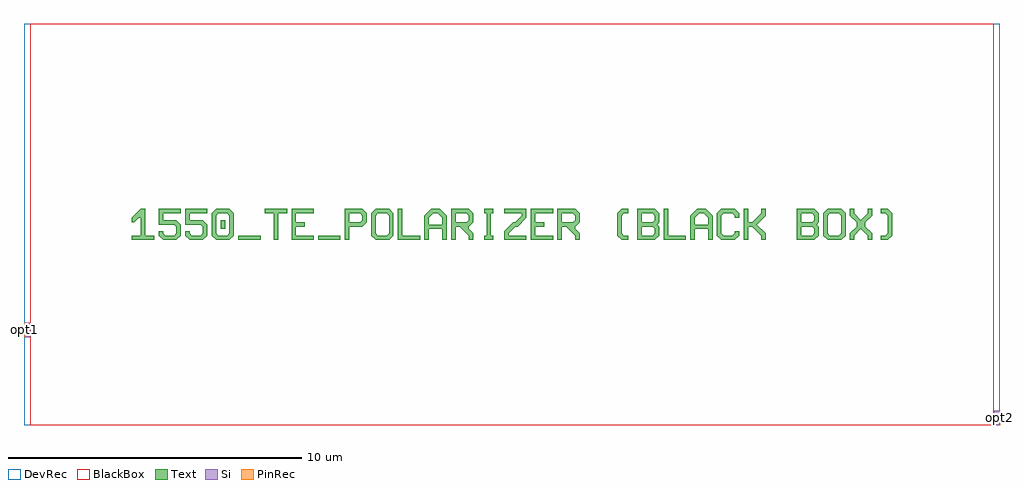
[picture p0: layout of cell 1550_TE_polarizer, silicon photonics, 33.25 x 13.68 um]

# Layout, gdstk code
import gdstk
lib = gdstk.Library(unit=1e-6, precision=1e-09)
def R(c, l, rs):  # rectangles x0, y0, x1, y1
    for r in rs: c.add(gdstk.rectangle(r[:2], r[2:], *l))
def P(c, l, *ps):  # polygons
    for p in ps: c.add(gdstk.Polygon(p, *l))
Si = (1, 0)
PinRec = (1, 10)
Text = (10, 0)
DevRec = (68, 0)
BlackBox = (998, 0)

text = lib.new_cell('TEXT')
R(text, Text, [(3.624,0,4.379,0.151), (6.342,0,7.097,0.151), (3.02,0.377,3.171,0.679)])
P(text, Text, [(0,0),(0,0.151),(0.302,0.151),(0.302,0.755),(0.226,0.755),(0.075,0.604),(0,0.604),(0,0.755),(0.302,1.057),(0.453,1.057),(0.453,0.151),(0.755,0.151),(0.755,0)],
  [(1.057,0),(0.906,0.151),(0.906,0.302),(1.057,0.302),(1.057,0.226),(1.132,0.151),(1.434,0.151),(1.51,0.226),(1.51,0.453),(1.434,0.528),(0.906,0.528),(0.906,1.057),(1.661,1.057),(1.661,0.906),(1.057,0.906),(1.057,0.679),(1.51,0.679),(1.661,0.528),(1.661,0.151),(1.51,0)],
  [(1.963,0),(1.812,0.151),(1.812,0.302),(1.963,0.302),(1.963,0.226),(2.038,0.151),(2.34,0.151),(2.416,0.226),(2.416,0.453),(2.34,0.528),(1.812,0.528),(1.812,1.057),(2.567,1.057),(2.567,0.906),(1.963,0.906),(1.963,0.679),(2.416,0.679),(2.567,0.528),(2.567,0.151),(2.416,0)],
  [(2.869,0),(2.718,0.151),(2.718,0.906),(2.869,1.057),(3.322,1.057),(3.473,0.906),(2.944,0.906),(2.869,0.83),(2.869,0.226),(2.944,0.151),(3.246,0.151),(3.322,0.226),(3.322,0.83),(3.246,0.906),(3.473,0.906),(3.473,0.151),(3.322,0)],
  [(4.832,0),(4.832,0.906),(4.53,0.906),(4.53,1.057),(5.285,1.057),(5.285,0.906),(4.983,0.906),(4.983,0)],
  [(5.436,0),(5.436,1.057),(6.191,1.057),(6.191,0.906),(5.587,0.906),(5.587,0.604),(5.889,0.604),(5.889,0.453),(5.587,0.453),(5.587,0.151),(6.191,0.151),(6.191,0)],
  [(7.248,0),(7.248,1.057),(7.852,1.057),(8.003,0.906),(8.003,0.604),(7.852,0.453),(7.399,0.453),(7.399,0.604),(7.776,0.604),(7.852,0.679),(7.852,0.83),(7.776,0.906),(7.399,0.906),(7.399,0)],
  [(8.305,0),(8.154,0.151),(8.154,0.906),(8.305,1.057),(8.758,1.057),(8.909,0.906),(8.909,0.528),(8.758,0.528),(8.758,0.83),(8.682,0.906),(8.38,0.906),(8.305,0.83),(8.305,0.226),(8.38,0.151),(8.682,0.151),(8.758,0.226),(8.758,0.528),(8.909,0.528),(8.909,0.151),(8.758,0)],
  [(9.06,0),(9.06,1.057),(9.211,1.057),(9.211,0.151),(9.815,0.151),(9.815,0)],
  [(9.966,0),(9.966,0.83),(10.192,1.057),(10.494,1.057),(10.645,0.906),(10.268,0.906),(10.117,0.755),(10.117,0.528),(10.57,0.528),(10.57,0.755),(10.419,0.906),(10.645,0.906),(10.721,0.83),(10.721,0),(10.57,0),(10.57,0.377),(10.117,0.377),(10.117,0)],
  [(10.872,0),(10.872,1.057),(11.476,1.057),(11.627,0.906),(11.023,0.906),(11.023,0.604),(11.4,0.604),(11.476,0.679),(11.476,0.83),(11.4,0.906),(11.627,0.906),(11.627,0.604),(11.476,0.453),(11.476,0.377),(11.627,0.226),(11.627,0),(11.476,0),(11.476,0.151),(11.174,0.453),(11.023,0.453),(11.023,0)],
  [(12.004,0),(12.004,0.151),(12.08,0.151),(12.08,0.906),(12.004,0.906),(12.004,1.057),(12.306,1.057),(12.306,0.906),(12.231,0.906),(12.231,0.151),(12.306,0.151),(12.306,0)],
  [(12.684,0),(12.684,0.302),(12.986,0.604),(13.061,0.604),(13.288,0.83),(13.288,0.906),(12.684,0.906),(12.684,1.057),(13.439,1.057),(13.439,0.755),(13.137,0.453),(13.061,0.453),(12.835,0.226),(12.835,0.151),(13.439,0.151),(13.439,0)],
  [(13.59,0),(13.59,1.057),(14.345,1.057),(14.345,0.906),(13.741,0.906),(13.741,0.604),(14.043,0.604),(14.043,0.453),(13.741,0.453),(13.741,0.151),(14.345,0.151),(14.345,0)],
  [(14.496,0),(14.496,1.057),(15.1,1.057),(15.251,0.906),(14.647,0.906),(14.647,0.604),(15.024,0.604),(15.1,0.679),(15.1,0.83),(15.024,0.906),(15.251,0.906),(15.251,0.604),(15.1,0.453),(15.1,0.377),(15.251,0.226),(15.251,0),(15.1,0),(15.1,0.151),(14.798,0.453),(14.647,0.453),(14.647,0)],
  [(16.685,0),(16.534,0.151),(16.534,0.906),(16.685,1.057),(16.912,1.057),(16.912,0.906),(16.761,0.906),(16.685,0.83),(16.685,0.226),(16.761,0.151),(16.912,0.151),(16.912,0)],
  [(17.214,0),(17.214,1.057),(17.818,1.057),(17.969,0.906),(17.365,0.906),(17.365,0.604),(17.742,0.604),(17.818,0.679),(17.818,0.83),(17.742,0.906),(17.969,0.906),(17.969,0.604),(17.893,0.528),(17.969,0.453),(17.365,0.453),(17.365,0.151),(17.742,0.151),(17.818,0.226),(17.818,0.377),(17.742,0.453),(17.969,0.453),(17.969,0.151),(17.818,0)],
  [(18.12,0),(18.12,1.057),(18.271,1.057),(18.271,0.151),(18.875,0.151),(18.875,0)],
  [(19.026,0),(19.026,0.83),(19.252,1.057),(19.554,1.057),(19.705,0.906),(19.328,0.906),(19.177,0.755),(19.177,0.528),(19.63,0.528),(19.63,0.755),(19.479,0.906),(19.705,0.906),(19.781,0.83),(19.781,0),(19.63,0),(19.63,0.377),(19.177,0.377),(19.177,0)],
  [(20.083,0),(19.932,0.151),(19.932,0.906),(20.083,1.057),(20.536,1.057),(20.687,0.906),(20.687,0.755),(20.536,0.755),(20.536,0.83),(20.46,0.906),(20.158,0.906),(20.083,0.83),(20.083,0.226),(20.158,0.151),(20.46,0.151),(20.536,0.226),(20.536,0.302),(20.687,0.302),(20.687,0.151),(20.536,0)],
  [(20.838,0),(20.838,1.057),(20.989,1.057),(20.989,0.604),(21.14,0.604),(21.442,0.906),(21.442,1.057),(21.593,1.057),(21.593,0.83),(21.291,0.528),(21.593,0.226),(21.593,0),(21.442,0),(21.442,0.151),(21.14,0.453),(20.989,0.453),(20.989,0)],
  [(22.65,0),(22.65,1.057),(23.254,1.057),(23.405,0.906),(22.801,0.906),(22.801,0.604),(23.178,0.604),(23.254,0.679),(23.254,0.83),(23.178,0.906),(23.405,0.906),(23.405,0.604),(23.329,0.528),(23.405,0.453),(22.801,0.453),(22.801,0.151),(23.178,0.151),(23.254,0.226),(23.254,0.377),(23.178,0.453),(23.405,0.453),(23.405,0.151),(23.254,0)],
  [(23.707,0),(23.556,0.151),(23.556,0.906),(23.707,1.057),(24.16,1.057),(24.311,0.906),(24.311,0.528),(24.16,0.528),(24.16,0.83),(24.084,0.906),(23.782,0.906),(23.707,0.83),(23.707,0.226),(23.782,0.151),(24.084,0.151),(24.16,0.226),(24.16,0.528),(24.311,0.528),(24.311,0.151),(24.16,0)],
  [(24.462,0),(24.462,0.226),(24.688,0.453),(24.688,0.604),(24.462,0.83),(24.462,1.057),(24.613,1.057),(24.613,0.906),(24.839,0.679),(25.066,0.906),(25.066,1.057),(25.217,1.057),(25.217,0.83),(24.99,0.604),(24.99,0.453),(25.217,0.226),(25.217,0),(25.066,0),(25.066,0.151),(24.839,0.377),(24.613,0.151),(24.613,0)],
  [(25.519,0),(25.519,0.151),(25.67,0.151),(25.745,0.226),(25.745,0.83),(25.67,0.906),(25.519,0.906),(25.519,1.057),(25.745,1.057),(25.896,0.906),(25.896,0.151),(25.745,0)])

c_1550_te_polarizer = lib.new_cell('1550_TE_polarizer')
R(c_1550_te_polarizer, Si, [(23.034,-3.248,23.234,-2.748), (-10,-0.25,-9.8,0.25)])
R(c_1550_te_polarizer, DevRec, [(-10,-3.248,23.234,10.434)])
R(c_1550_te_polarizer, BlackBox, [(-9.8,-3.248,23.034,10.434)])
c_1550_te_polarizer.add(gdstk.FlexPath([(-9.99,0),(-10.01,0)], 0.5, ends="flush", simple_path=True, layer=1, datatype=10))  # PinRec
c_1550_te_polarizer.add(gdstk.FlexPath([(23.224,-2.998),(23.244,-2.998)], 0.5, ends="flush", simple_path=True, layer=1, datatype=10))  # PinRec
c_1550_te_polarizer.add(gdstk.Reference(text, (-6.331,3.065)))
c_1550_te_polarizer.add(gdstk.Label('opt1', (-10,0), layer=1, texttype=10))
c_1550_te_polarizer.add(gdstk.Label('opt2', (23.234,-2.998), layer=1, texttype=10))
c_1550_te_polarizer.add(gdstk.Label('TE+TM', (-9.55,0), layer=10, texttype=0))
c_1550_te_polarizer.add(gdstk.Label('TE', (22.784,-2.998), layer=10, texttype=0))

lib.write_gds('1550_TE_polarizer.gds')
